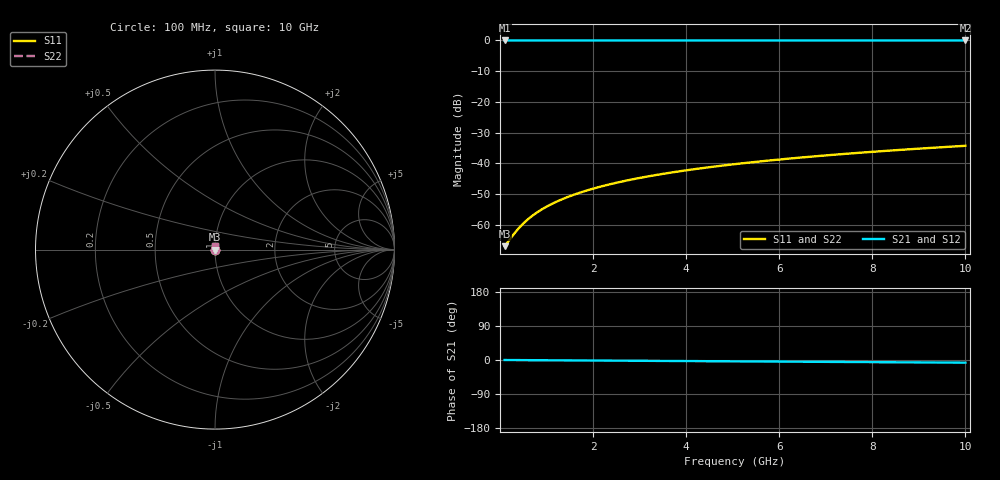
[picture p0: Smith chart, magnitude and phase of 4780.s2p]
# Hz S RI R 50.00
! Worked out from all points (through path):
!   100 points, 100 MHz to 10 GHz, reference 50 ohm
!   highest |S21| = 0.00 dB at 100 MHz (marker M1); lowest = 0.0 dB at 10 GHz (marker M2)
!   lowest |S11| = -67.0 dB at 100 MHz (marker M3), VSWR 1.00, Z = 50 + j0.0191 ohm
!   |S11| at or under -10 dB: start of sweep to end of sweep
!   |S22| runs from -67.0 to -34.3 dB; largest |S21 - S12| = 0
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1e8  0.000402 0.000191  0.9996 -0.00122  0.9996 -0.00122  0.000402 0.000191
3e8  0.000408 0.000573  0.9996 -0.00366  0.9996 -0.00366  0.000408 0.000573
4e8  0.000411 0.000764  0.9996 -0.00488  0.9996 -0.00488  0.000411 0.000764
5e8  0.000414 0.000955  0.9996 -0.0061  0.9996 -0.0061  0.000414 0.000955
6e8  0.000417 0.00115  0.9996 -0.00732  0.9996 -0.00732  0.000417 0.00115
7e8  0.000421 0.00134  0.9995 -0.00854  0.9995 -0.00854  0.000421 0.00134
8e8  0.000425 0.00153  0.9995 -0.00976  0.9995 -0.00976  0.000425 0.00153
1e9  0.000434 0.00191  0.9995 -0.0122  0.9995 -0.0122  0.000434 0.00191
1.2e9  0.000445 0.00229  0.9995 -0.0146  0.9995 -0.0146  0.000445 0.00229
1.5e9  0.000465 0.00286  0.9994 -0.0183  0.9994 -0.0183  0.000465 0.00286
1.8e9  0.000488 0.00343  0.9993 -0.022  0.9993 -0.022  0.000488 0.00343
2.1e9  0.000516 0.00401  0.9992 -0.0256  0.9992 -0.0256  0.000516 0.00401
2.5e9  0.00056 0.00477  0.9991 -0.0305  0.9991 -0.0305  0.00056 0.00477
2.9e9  0.00061 0.00553  0.9989 -0.0354  0.9989 -0.0354  0.00061 0.00553
3.4e9  0.000684 0.00648  0.9987 -0.0415  0.9987 -0.0415  0.000684 0.00648
4.2e9  0.000826 0.008  0.9982 -0.0513  0.9982 -0.0513  0.000826 0.008
5.1e9  0.00102 0.0097  0.9975 -0.0624  0.9975 -0.0624  0.00102 0.0097
5.9e9  0.00123 0.0112  0.9969 -0.0722  0.9969 -0.0722  0.00123 0.0112
6.7e9  0.00146 0.0127  0.9961 -0.082  0.9961 -0.082  0.00146 0.0127
7.5e9  0.00173 0.0143  0.9952 -0.0918  0.9952 -0.0918  0.00173 0.0143
8.4e9  0.00207 0.016  0.9941 -0.1029  0.9941 -0.1029  0.00207 0.016
1e10  0.00277 0.019  0.9917 -0.1226  0.9917 -0.1226  0.00277 0.019
